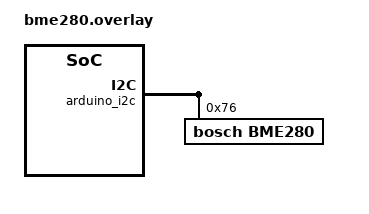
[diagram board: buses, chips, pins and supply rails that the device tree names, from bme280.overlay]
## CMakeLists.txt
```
# SPDX-License-Identifier: Apache-2.0

cmake_minimum_required(VERSION 3.20.0)

# Add our custom shields directory to the board root
# This must be set BEFORE find_package(Zephyr)
list(APPEND BOARD_ROOT ${CMAKE_CURRENT_SOURCE_DIR}/..)

find_package(Zephyr REQUIRED HINTS $ENV{ZEPHYR_BASE})
project(sockets_echo_server)

target_sources(                     app PRIVATE src/packet.c)

include(${ZEPHYR_BASE}/samples/net/common/common.cmake)
```

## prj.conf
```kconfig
# Generic networking options
CONFIG_NETWORKING=y
CONFIG_NET_UDP=y
CONFIG_NET_TCP=n
CONFIG_NET_IPV6=y
CONFIG_NET_IPV4=n
CONFIG_NET_MAX_CONTEXTS=10
CONFIG_NET_SOCKETS=y
CONFIG_POSIX_API=y
CONFIG_NET_CONTEXT_RCVTIMEO=y
CONFIG_NET_MGMT=y
CONFIG_NET_MGMT_EVENT=y
CONFIG_NET_MGMT_EVENT_INFO=y
CONFIG_NET_SHELL=y

# Network buffers
CONFIG_NET_PKT_RX_COUNT=16
CONFIG_NET_PKT_TX_COUNT=16
CONFIG_NET_BUF_RX_COUNT=64
CONFIG_NET_BUF_TX_COUNT=64
CONFIG_NET_BUF_DATA_SIZE=128
CONFIG_NET_CONTEXT_NET_PKT_POOL=y
CONFIG_MPSL=n

# Network shell
CONFIG_SHELL=y
CONFIG_SHELL_STACK_SIZE=3072

# Kernel options
CONFIG_MAIN_STACK_SIZE=4096
CONFIG_SYSTEM_WORKQUEUE_STACK_SIZE=2048
CONFIG_ENTROPY_GENERATOR=y
CONFIG_TEST_RANDOM_GENERATOR=y
CONFIG_ZVFS_OPEN_MAX=6
CONFIG_INIT_STACKS=y

# OpenThread options
CONFIG_NET_IPV6_NBR_CACHE=n
CONFIG_NET_IPV6_MLD=n
CONFIG_NET_CONFIG_NEED_IPV4=n

CONFIG_OPENTHREAD_SHELL=y
CONFIG_NET_L2_OPENTHREAD=y

CONFIG_OPENTHREAD_DEBUG=y
CONFIG_OPENTHREAD_L2_DEBUG=y
CONFIG_OPENTHREAD_L2_LOG_LEVEL_INF=y

CONFIG_OPENTHREAD_PANID=4369
CONFIG_OPENTHREAD_CHANNEL=15
CONFIG_OPENTHREAD_NETWORKKEY="00:11:22:33:44:55:66:77:88:99:aa:bb:cc:dd:ee:ff"

CONFIG_NET_CONFIG_MY_IPV6_ADDR="fdde:ad00:beef::1"
CONFIG_NET_CONFIG_PEER_IPV6_ADDR="fdde:ad00:beef::2"

# mbedTLS tweaks
CONFIG_MBEDTLS_SSL_MAX_CONTENT_LEN=768

# Logging
CONFIG_LOG=y
CONFIG_LOG_MODE_DEFERRED=y
CONFIG_NET_LOG=y
CONFIG_NET_STATISTICS=y
CONFIG_PRINTK=y
CONFIG_SHELL_LOG_BACKEND=y
# CONFIG_LOG_BACKEND_NATIVE_POSIX=y

CONFIG_NET_SOCKETS_LOG_LEVEL_DBG=n
CONFIG_NET_CONTEXT_LOG_LEVEL_DBG=n
CONFIG_NET_CORE_LOG_LEVEL_DBG=n
CONFIG_NET_CONN_LOG_LEVEL_DBG=n
CONFIG_NET_IF_LOG_LEVEL_DBG=n
CONFIG_NET_L2_ETHERNET_LOG_LEVEL_DBG=n
CONFIG_ETHERNET_LOG_LEVEL_DBG=n
CONFIG_NET_PKT_LOG_LEVEL_ERR=n
CONFIG_NEWLIB_LIBC_NANO=n
```

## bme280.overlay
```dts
/*
 * Copyright (c) 2020, Nordic Semiconductor ASA
 *
 * SPDX-License-Identifier: Apache-2.0
 */

/*
 * Example configuration of a BME280 device on an Arduino I2C bus.
 *
 * Device address 0x77 is assumed. Your device may have a different
 * address; check your device documentation if unsure.
 */
&arduino_i2c {
	status = "okay";
	bme280@76 {
		compatible = "bosch,bme280";
		reg = <0x76>;
	};
};
```

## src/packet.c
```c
/*
 * Copyright (c) 2019 Intel Corporation.
 *
 * SPDX-License-Identifier: Apache-2.0
 */

#include <zephyr/logging/log.h>
LOG_MODULE_REGISTER(net_pkt_sock_sample, LOG_LEVEL_DBG);

#include <zephyr/kernel.h>
#include <errno.h>
#include <stdio.h>

#include <zephyr/device.h>
#include <zephyr/devicetree.h>
#include <zephyr/drivers/led_strip.h>

/* BME280 Environmental Sensor */
#define BME280_NODE DT_NODELABEL(bme280_sensor)
#if DT_NODE_EXISTS(BME280_NODE)
#include <bme280_shield.h>
#endif

#include <zephyr/net/socket.h>
#include <zephyr/net/ethernet.h>
#include <zephyr/net/ieee802154.h>
#include <zephyr/net/ieee802154_mgmt.h>
#include <zephyr/net/net_mgmt.h>
#include <zephyr/net/net_ip.h>
#include <zephyr/net/openthread.h>

#define STACK_SIZE 4096
#if defined(CONFIG_NET_TC_THREAD_COOPERATIVE)
#define THREAD_PRIORITY K_PRIO_COOP(CONFIG_NUM_COOP_PRIORITIES - 1)
#else
#define THREAD_PRIORITY K_PRIO_PREEMPT(8)
#endif
#define RECV_BUFFER_SIZE 128

#if DT_NODE_EXISTS(BME280_NODE)
static const struct device *bme280;
#endif

/* WS2812 LED Strip */
#define LED_STRIP_NODE DT_NODELABEL(led_strip)
#if DT_NODE_EXISTS(LED_STRIP_NODE)
#define LED_STRIP_SIZE DT_PROP(LED_STRIP_NODE, chain_length)
#define FILL_LED_STRIP(pixels, size, _r, _g, _b) \
do { \
	for (int i = 0; i < (size); i++) { \
		pixels[i].r = (_r); \
		pixels[i].g = (_g); \
		pixels[i].b = (_b); \
	} \
} while (0)

static const struct device *led_dev = DEVICE_DT_GET(LED_STRIP_NODE);
#endif

static struct k_sem quit_lock;
static bool finish;
static K_SEM_DEFINE(iface_up, 0, 1);


static void recv_packet(void);

K_THREAD_DEFINE(receiver_thread_id, STACK_SIZE,
		recv_packet, NULL, NULL, NULL,
		THREAD_PRIORITY, 0, -1);

#if DT_NODE_EXISTS(LED_STRIP_NODE)
static void update_led_strip(uint8_t position, uint8_t r, uint8_t g, uint8_t b)
{
	static struct led_rgb led_pixels[LED_STRIP_SIZE];

	if (!device_is_ready(led_dev)) {
		LOG_ERR("LED strip device not ready");
		return;
	}

	if (position < LED_STRIP_SIZE) {
		led_pixels[position].r = r;
		led_pixels[position].g = g;
		led_pixels[position].b = b;
	} else if (position == LED_STRIP_SIZE) {
		FILL_LED_STRIP(led_pixels, LED_STRIP_SIZE, r, g, b);
	} else {
		LOG_ERR("Invalid position: %d", position);
	}
	
	int ret = led_strip_update_rgb(led_dev, led_pixels, LED_STRIP_SIZE);
	if (ret < 0) {
		LOG_ERR("Failed to update LED strip: %d", ret);
	}
}
#endif


static void quit(void)
{
	k_sem_give(&quit_lock);
}

static int create_datagram_socket(const struct sockaddr *addr, socklen_t addrlen)
{
	int ret;
	int sock;

	sock = socket(addr->sa_family, SOCK_DGRAM, IPPROTO_UDP);
	if (sock < 0) {
		LOG_ERR("Failed to create socket: %d", errno);
		return -errno;
	}

	ret = bind(sock, addr, addrlen);
	if (ret < 0) {
		LOG_ERR("Failed to bind packet socket : %d", errno);
		return -errno;
	}

	return sock;
}

static void print_address(sa_family_t af, struct sockaddr *addr)
{
	char buf[NET_IPV6_ADDR_LEN];
	switch (af) {
		case AF_INET6:
			net_addr_ntop(af, &net_sin6(addr)->sin6_addr, buf, NET_IPV6_ADDR_LEN);
			break;
	}
	LOG_INF("Peer %s", buf);
}

static void recv_packet(void)
{
	int ret;
	int socket;


	struct timeval timeo_optval = {
		.tv_sec = 1,
		.tv_usec = 0,
	};

	struct sockaddr_in6 addr = {
		.sin6_family = AF_INET6,
		.sin6_port = htons(1234),
		.sin6_addr = in6addr_any,
	};

	socket = create_datagram_socket((const struct sockaddr *)&addr, sizeof(addr));
	if (socket < 0) {
		quit();
		return;
	}

	ret = setsockopt(socket, SOL_SOCKET, SO_RCVTIMEO, &timeo_optval, sizeof(timeo_optval));
	if (ret < 0) {
		quit();
		return;
	}

	int received;
	int len;
	char buffer[RECV_BUFFER_SIZE];
	struct sockaddr src_addr;
	socklen_t addrlen = sizeof(src_addr);

	while (ret >= 0) {
		received = recvfrom(socket, buffer,	sizeof(buffer) - 1, 0, &src_addr, &addrlen);

		if (received > 0) {
			/* Null-terminate the received data for string operations */
			buffer[received] = '\0';
			
			print_address(src_addr.sa_family, &src_addr);
			LOG_HEXDUMP_DBG(buffer, received, "Data:");

			len = 0;

			if (strncmp(buffer, "led:", 4) == 0) {
#if DT_NODE_EXISTS(LED_STRIP_NODE)				
				uint8_t r, g, b;
				if (sscanf(buffer, "led:%hhu,%hhu,%hhu", &r, &g, &b) == 3) {
					update_led_strip(LED_STRIP_SIZE, r, g, b);
				} else {
					LOG_ERR("Invalid LED command: %s", buffer);
				}
#endif
			} else if (strncmp(buffer, "temp", 4) == 0) {
#if DT_NODE_EXISTS(BME280_NODE)
				if (bme280) {
					len = bme280_shield_read_sensor_data(bme280, buffer, sizeof(buffer));
				} else {
					LOG_ERR("BME280 not found");
				}
#endif
			} else {
				len = snprintf(buffer, sizeof(buffer), "Hello from Zephyr!\n");
			}

			if (len) {
				ret = sendto(socket, buffer, len, 0, &src_addr, addrlen);
				if (ret < 0) {
					LOG_ERR("Failed to send, errno %d", errno);
				}
			}
		} else if (errno != EAGAIN) {
			LOG_ERR("RAW : recv error %d", errno);
			ret = -errno;
		}
	}

	close(socket);
}

static void iface_up_handler(struct net_mgmt_event_callback *cb,
			     uint32_t mgmt_event, struct net_if *iface)
{
	if (mgmt_event == NET_EVENT_IF_UP) {
		k_sem_give(&iface_up);
	}
}

static void wait_for_interface(void)
{
	struct net_if *iface = net_if_get_default();
	struct net_mgmt_event_callback iface_up_cb;

	if (net_if_is_up(iface)) {
		return;
	}

	net_mgmt_init_event_callback(&iface_up_cb, iface_up_handler, NET_EVENT_IF_UP);
	net_mgmt_add_event_callback(&iface_up_cb);

	if (net_if_up(iface)) {
		LOG_ERR("Failed to turn iface up");
		return;
	}

	/* Wait for the interface to come up. */
	k_sem_take(&iface_up, K_FOREVER);

	net_mgmt_del_event_callback(&iface_up_cb);
}

int main(void)
{
	k_sem_init(&quit_lock, 0, K_SEM_MAX_LIMIT);

#if DT_NODE_EXISTS(BME280_NODE)
	bme280 = bme280_shield_get_device();
#endif
	
#if DT_NODE_EXISTS(LED_STRIP_NODE)
	if (device_is_ready(led_dev)) {
		struct led_rgb led_pixels[LED_STRIP_SIZE];
		FILL_LED_STRIP(led_pixels, LED_STRIP_SIZE, 0, 0, 20);
		led_strip_update_rgb(led_dev, led_pixels, LED_STRIP_SIZE);
	} else {
		LOG_WRN("LED strip device not ready");
	}
#endif

	k_thread_start(receiver_thread_id);
	openthread_run();

	k_sem_take(&quit_lock, K_FOREVER);

	LOG_INF("Stopping...");

	finish = true;

	k_thread_join(receiver_thread_id, K_FOREVER);

	return 0;
}
```
